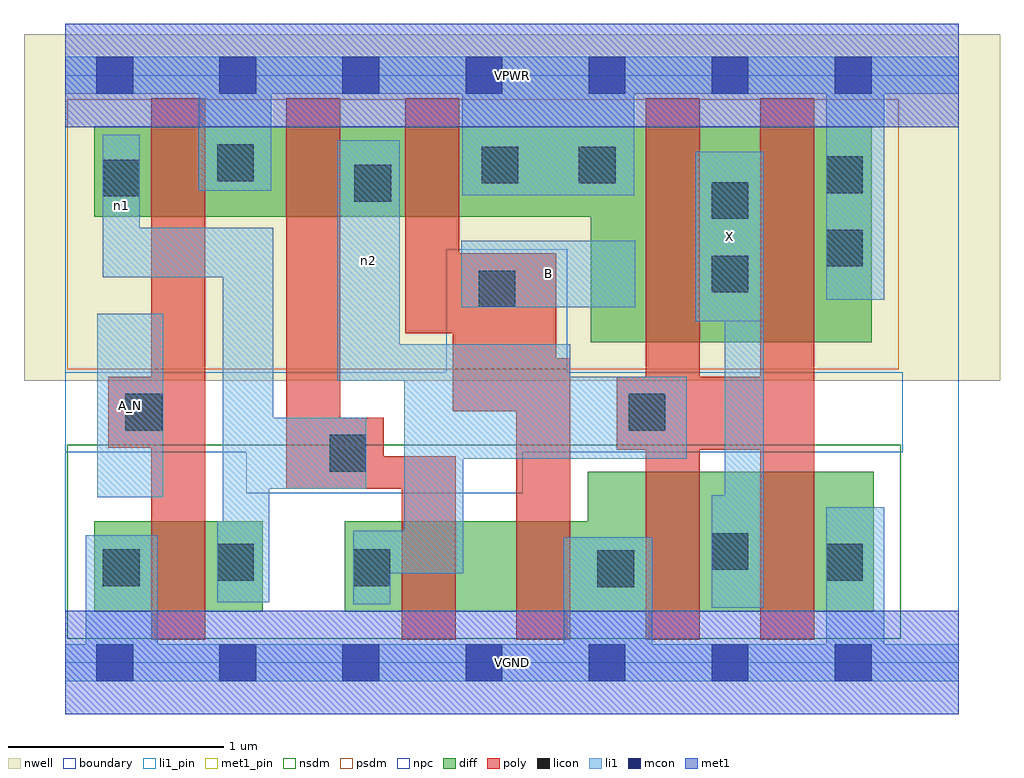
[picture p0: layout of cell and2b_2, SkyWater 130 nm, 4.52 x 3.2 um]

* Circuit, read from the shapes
.subckt and2b_2 A_N B VGND VPWR X n1 n2
XM1 n1 A_N VGND VSUBS sky130_fd_pr__nfet_01v8 w=0.42 l=0.25
XM2 n3 n1 n2 VSUBS sky130_fd_pr__nfet_01v8 w=0.42 l=0.25
XM3 VGND B n3 VSUBS sky130_fd_pr__nfet_01v8 w=0.42 l=0.25
XM4 X n2 VGND VSUBS sky130_fd_pr__nfet_01v8 w=0.65 l=0.25 m=2
XM5 VPWR A_N n1 n4 sky130_fd_pr__pfet_01v8 w=0.42 l=0.25
XM6 n2 n1 VPWR n4 sky130_fd_pr__pfet_01v8 w=0.42 l=0.25
XM7 VPWR B n2 n4 sky130_fd_pr__pfet_01v8 w=0.42 l=0.25
XM8 X n2 VPWR n4 sky130_fd_pr__pfet_01v8 w=1 l=0.25 m=2
.ends

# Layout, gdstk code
import gdstk
lib = gdstk.Library(unit=1e-6, precision=1e-09)
def R(c, l, rs):  # rectangles x0, y0, x1, y1
    for r in rs: c.add(gdstk.rectangle(r[:2], r[2:], *l))
def A(c, l, x, y, w, h, nx, ny, dx, dy):  # array of equal rectangles
    R(c, l, [(x+i*dx, y+j*dy, x+i*dx+w, y+j*dy+h) for i in range(nx) for j in range(ny)])
nwell = (64, 20)
diff = (65, 20)
poly = (66, 20)
licon = (66, 44)
li1_pin = (67, 16)
li1 = (67, 20)
mcon = (67, 44)
met1_pin = (68, 16)
met1 = (68, 20)
nsdm = (93, 44)
psdm = (94, 20)
npc = (95, 20)
boundary = (235, 4)

and2b_2 = lib.new_cell('and2b_2')
R(and2b_2, nwell, [(-0.19,1.305,4.33,2.91), (0,1.305,4.14,2.91)])
R(and2b_2, diff, [(0.135,0.235,0.915,0.655), (1.295,0.235,3.745,0.655), (2.42,0.235,3.745,0.885), (2.435,1.485,3.735,2.485), (0.135,2.065,3.735,2.485)])
R(and2b_2, poly, [(0.4,0.105,0.65,2.615), (1.56,0.105,1.81,0.955), (2.09,0.105,2.34,1.41), (2.69,0.105,2.94,2.615), (3.22,0.105,3.47,2.615), (1.025,0.805,1.475,1.135), (1.025,0.805,1.275,2.615), (1.025,0.805,1.81,0.955), (2.555,0.985,3.47,1.325), (0.2,0.995,0.65,1.325), (1.795,1.165,2.275,1.895), (1.575,1.525,1.825,2.615)])
R(and2b_2, licon, [(2.465,0.35,2.635,0.52), (0.175,0.355,0.345,0.525), (1.335,0.355,1.505,0.525), (0.705,0.38,0.875,0.55), (3.525,0.38,3.695,0.55), (2.995,0.43,3.165,0.6), (1.225,0.885,1.395,1.055), (0.28,1.075,0.45,1.245), (2.61,1.075,2.78,1.245), (1.915,1.645,2.085,1.815), (2.995,1.715,3.165,1.885), (3.525,1.835,3.695,2.005), (2.995,2.055,3.165,2.225), (1.34,2.135,1.51,2.305), (0.175,2.16,0.345,2.33), (3.525,2.175,3.695,2.345), (1.93,2.22,2.1,2.39), (2.38,2.22,2.55,2.39), (0.705,2.23,0.875,2.4)])
R(and2b_2, li1_pin, [(0.15,0.765,0.455,1.615), (2.92,1.58,3.235,2.365), (1.835,1.645,2.64,1.955)])
R(and2b_2, li1, [(0,-0.085,4.14,0.085), (0.095,-0.085,0.43,0.59), (2.31,-0.085,2.72,0.58), (3.525,-0.085,3.795,0.72), (2.995,0.255,3.235,0.775), (3.055,0.255,3.235,2.365), (1.335,0.27,1.505,0.61), (0.705,0.28,0.945,0.655), (0.73,0.28,0.945,2.015), (1.335,0.415,1.845,0.61), (1.57,0.415,1.845,1.475), (0.15,0.765,0.455,1.615), (0.73,0.805,1.395,1.135), (0.73,0.805,0.965,2.015), (1.57,0.945,2.88,1.325), (1.26,1.305,1.55,2.42), (1.26,1.305,2.34,1.475), (2.92,1.58,3.235,2.365), (1.835,1.645,2.64,1.955), (3.525,1.68,3.795,2.805), (0.175,1.785,0.345,2.445), (0.175,1.785,0.965,2.015), (1.84,2.165,2.635,2.805), (0.62,2.185,0.955,2.805), (0,2.635,4.14,2.805)])
A(and2b_2, mcon, 0.145, -0.085, 0.17, 0.17, 7, 2, 0.57, 2.72)
R(and2b_2, met1_pin, [(0,-0.24,4.14,0.24), (0,2.48,4.14,2.96)])
R(and2b_2, met1, [(0,-0.24,4.14,0.24), (0,2.48,4.14,2.96)])
R(and2b_2, nsdm, [(0.01,0.11,3.87,1.01)])
R(and2b_2, psdm, [(0.01,1.36,3.86,2.61)])
R(and2b_2, npc, [(0.84,0.785,2.12,1.345), (0,0.975,3.88,1.345), (1.765,0.975,2.325,1.915)])
R(and2b_2, boundary, [(0,0,4.14,2.72)])
and2b_2.add(gdstk.Label('A_N', (0.302,1.19), layer=67, texttype=5))
and2b_2.add(gdstk.Label('B', (2.237,1.8), layer=67, texttype=5))
and2b_2.add(gdstk.Label('X', (3.077,1.972), layer=67, texttype=5))
and2b_2.add(gdstk.Label('n2', (1.405,1.862), layer=67, texttype=5))
and2b_2.add(gdstk.Label('n1', (0.26,2.115), layer=67, texttype=5))
and2b_2.add(gdstk.Label('VPWR', (2.07,2.72), layer=68, texttype=5))
and2b_2.add(gdstk.Label('VGND', (2.07,0), layer=68, texttype=5))
and2b_2.add(gdstk.Label('A_N', (0.302,1.19), layer=67, texttype=16))
and2b_2.add(gdstk.Label('B', (2.237,1.8), layer=67, texttype=16))
and2b_2.add(gdstk.Label('X', (3.077,1.972), layer=67, texttype=16))
and2b_2.add(gdstk.Label('VPWR', (2.07,2.72), layer=68, texttype=16))
and2b_2.add(gdstk.Label('VGND', (2.07,0), layer=68, texttype=16))

lib.write_gds('and2b_2.gds')
